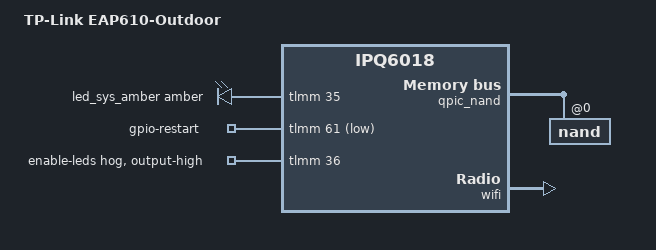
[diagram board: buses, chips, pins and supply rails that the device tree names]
// SPDX-License-Identifier: GPL-2.0-or-later OR MIT

/dts-v1/;

#include "ipq6000-tplink.dtsi"

/ {
	model = "TP-Link EAP610-Outdoor";
	compatible = "tplink,eap610od", "qcom,ipq6018";

	leds {
		compatible = "gpio-leds";

		led_sys_amber: sys-amber {
			color = <LED_COLOR_ID_AMBER>;
			function = LED_FUNCTION_STATUS;
			gpios = <&tlmm 35 GPIO_ACTIVE_HIGH>;
		};
	};

	gpio-restart {
		compatible = "gpio-restart";
		gpios = <&tlmm 61 GPIO_ACTIVE_LOW>;
		open-source;
	};
};

&tlmm {
	led_enable {
		gpio-hog;
		output-high;
		gpios = <36 GPIO_ACTIVE_HIGH>;
		line-name = "enable-leds";
	};
};

&qpic_nand {
	status = "okay";

	nand@0 {
		reg = <0>;
		nand-ecc-strength = <4>;
		nand-ecc-step-size = <512>;
		nand-bus-width = <8>;
	};
};

&wifi {
	status = "okay";
	qcom,ath11k-fw-memory-mode = <1>;
	qcom,ath11k-calibration-variant = "TP-Link-EAP610-Outdoor";
};
